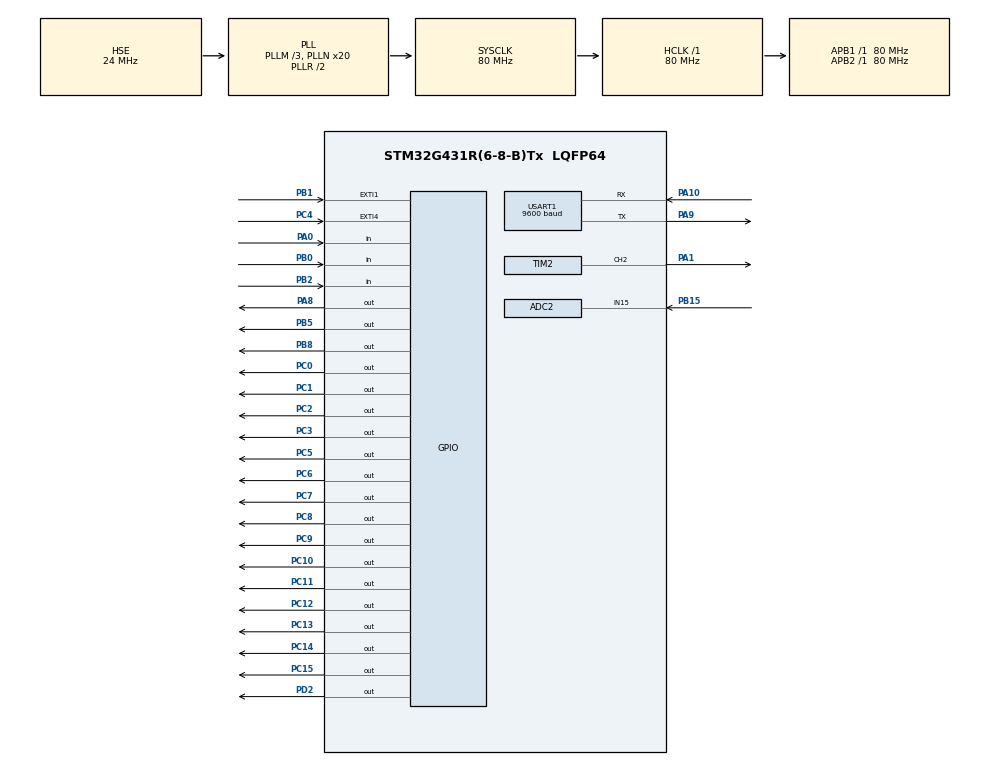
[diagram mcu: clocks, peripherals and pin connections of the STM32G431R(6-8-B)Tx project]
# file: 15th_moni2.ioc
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ADC2.Channel-0\#ChannelRegularConversion=ADC_CHANNEL_15
ADC2.NbrOfConversionFlag=1
ADC2.OffsetNumber-0\#ChannelRegularConversion=ADC_OFFSET_NONE
ADC2.Rank-0\#ChannelRegularConversion=1
ADC2.SamplingTime-0\#ChannelRegularConversion=ADC_SAMPLETIME_2CYCLES_5
Mcu.Family=STM32G4
Mcu.Name=STM32G431R(6-8-B)Tx
Mcu.Package=LQFP64
NVIC.PriorityGroup=NVIC_PRIORITYGROUP_4
NVIC.TIM4_IRQn=true\:0\:0\:false\:false\:true\:true\:true\:true
NVIC.USART1_IRQn=true\:0\:0\:false\:false\:true\:true\:true\:true
PA0.GPIO_PuPd=GPIO_PULLUP
PA0.Signal=GPIO_Input
PA1.Signal=S_TIM2_CH2
PA10.Mode=Asynchronous
PA10.Signal=USART1_RX
PA13.Mode=Serial_Wire
PA13.Signal=SYS_JTMS-SWDIO
PA14.Mode=Serial_Wire
PA14.Signal=SYS_JTCK-SWCLK
PA8.Signal=GPIO_Output
PA9.Mode=Asynchronous
PA9.Signal=USART1_TX
PB0.GPIO_PuPd=GPIO_PULLUP
PB0.Signal=GPIO_Input
PB1.GPIO_PuPd=GPIO_PULLUP
PB1.Signal=GPXTI1
PB15.Mode=IN15-Single-Ended
PB15.Signal=ADC2_IN15
PB2.GPIO_PuPd=GPIO_PULLUP
PB2.Signal=GPIO_Input
PB5.Signal=GPIO_Output
PB8-BOOT0.Signal=GPIO_Output
PC0.Signal=GPIO_Output
PC1.Signal=GPIO_Output
PC10.PinState=GPIO_PIN_SET
PC10.Signal=GPIO_Output
PC11.PinState=GPIO_PIN_SET
PC11.Signal=GPIO_Output
PC12.PinState=GPIO_PIN_SET
PC12.Signal=GPIO_Output
PC13.PinState=GPIO_PIN_SET
PC13.Signal=GPIO_Output
PC14-OSC32_IN.PinState=GPIO_PIN_SET
PC14-OSC32_IN.Signal=GPIO_Output
PC15-OSC32_OUT.PinState=GPIO_PIN_SET
PC15-OSC32_OUT.Signal=GPIO_Output
PC2.Signal=GPIO_Output
PC3.Signal=GPIO_Output
PC4.Signal=GPXTI4
PC5.Signal=GPIO_Output
PC6.Signal=GPIO_Output
PC7.Signal=GPIO_Output
PC8.PinState=GPIO_PIN_SET
PC8.Signal=GPIO_Output
PC9.PinState=GPIO_PIN_SET
PC9.Signal=GPIO_Output
PD2.Signal=GPIO_Output
PF0-OSC_IN.Mode=HSE-External-Oscillator
PF0-OSC_IN.Signal=RCC_OSC_IN
PF1-OSC_OUT.Mode=HSE-External-Oscillator
PF1-OSC_OUT.Signal=RCC_OSC_OUT
ProjectManager.HeapSize=0x200
ProjectManager.StackSize=0x400
ProjectManager.TargetToolchain=MDK-ARM V5.32
RCC.ADC12Freq_Value=80000000
RCC.AHBFreq_Value=80000000
RCC.APB1Freq_Value=80000000
RCC.APB1TimFreq_Value=80000000
RCC.APB2Freq_Value=80000000
RCC.APB2TimFreq_Value=80000000
RCC.CortexFreq_Value=80000000
RCC.EXTERNAL_CLOCK_VALUE=12288000
RCC.HCLKFreq_Value=80000000
RCC.HSE_VALUE=24000000
RCC.HSI48_VALUE=48000000
RCC.HSI_VALUE=16000000
RCC.LSE_VALUE=32768
RCC.PLLM=RCC_PLLM_DIV3
RCC.PLLN=20
RCC.PLLSourceVirtual=RCC_PLLSOURCE_HSE
RCC.SYSCLKFreq_VALUE=80000000
RCC.SYSCLKSource=RCC_SYSCLKSOURCE_PLLCLK
RCC.USBFreq_Value=80000000
RCC.VCOOutputFreq_Value=160000000
SH.S_TIM2_CH2.0=TIM2_CH2,PWM Generation2 CH2
TIM2.Channel-PWM\ Generation2\ CH2=TIM_CHANNEL_2
TIM2.PeriodNoDither=100-1
TIM2.Prescaler=400-1
TIM4.PeriodNoDither=10000-1
TIM4.Prescaler=80-1
USART1.BaudRate=9600
USART1.VirtualMode-Asynchronous=VM_ASYNC
VP_SYS_VS_DBSignals.Mode=DisableDeadBatterySignals
VP_TIM2_VS_ClockSourceINT.Mode=Internal
VP_TIM4_VS_ClockSourceINT.Mode=Internal
board=custom

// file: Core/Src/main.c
/* USER CODE BEGIN Header */
/**
  ******************************************************************************
  * @file           : main.c
  * @brief          : Main program body
  ******************************************************************************
  * @attention
  *
  * Copyright (c) 2024 STMicroelectronics.
  * All rights reserved.
  *
  * This software is licensed under terms that can be found in the LICENSE file
  * in the root directory of this software component.
  * If no LICENSE file comes with this software, it is provided AS-IS.
  *
  ******************************************************************************
  */
/* USER CODE END Header */
#include "main.h"
#include "adc.h"
#include "tim.h"
#include "usart.h"
#include "gpio.h"

/* USER CODE BEGIN Includes */

#include "stdio.h"
#include "string.h"
#include "lcd.h"
#include "led.h"
#include "timer.h"
#include "myadc.h"
#include "myusart.h"

/* USER CODE END Includes */

/* USER CODE BEGIN PTD */

__IO uint32_t uwTick_Lcd;
__IO uint32_t uwTick_Led;

unsigned char view=0;
unsigned char lcd_text[30];
unsigned char usart_text[30];

unsigned char ucled=0x00;

double temp;//温度
double R37_v;
unsigned char mode=0;//当前控制模式
unsigned char gear=1;//档位

unsigned char usart_flag=0;
unsigned char usart_led=0;

/* USER CODE END PTD */

void SystemClock_Config(void);
/* USER CODE BEGIN PFP */
void Lcd_proc(void);
void Key_proc(void);
void usart_proc(void);
void led_proc(void);
void pwm_proc(void);
void temp_proc(void);

/* USER CODE END PFP */

int main(void)
{

  /* MCU Configuration--------------------------------------------------------*/

  /* Reset of all peripherals, Initializes the Flash interface and the Systick. */
  HAL_Init();

  /* Configure the system clock */
  SystemClock_Config();

  /* Initialize all configured peripherals */
  MX_GPIO_Init();
  MX_ADC2_Init();
  MX_TIM2_Init();
  MX_TIM4_Init();
  MX_USART1_UART_Init();
  /* USER CODE BEGIN 2 */

    led_disp(ucled);

    LCD_Init();
    LCD_Clear(Black);
    LCD_SetBackColor(Black);
    LCD_SetTextColor(White);

    HAL_TIM_Base_Start_IT(&htim4);

    HAL_UART_Receive_IT(&huart1,&rxdat,1);

    HAL_TIM_PWM_Start(&htim2,TIM_CHANNEL_2);

  /* USER CODE END 2 */

  /* Infinite loop */
  while (1)
  {

    /* USER CODE BEGIN 3 */
      if(rx_pointer!=0)
      {
          int temp=rx_pointer;
          HAL_Delay(2);
          if(rx_pointer==temp)
              usart_proc();
      }

      Key_proc();
      temp_proc();
      Lcd_proc();
      led_proc();
      pwm_proc();
  }
  /* USER CODE END 3 */
}

void SystemClock_Config(void)
{
  RCC_OscInitTypeDef RCC_OscInitStruct = {0};
  RCC_ClkInitTypeDef RCC_ClkInitStruct = {0};

  /** Configure the main internal regulator output voltage
  */
  HAL_PWREx_ControlVoltageScaling(PWR_REGULATOR_VOLTAGE_SCALE1);

  /** Initializes the RCC Oscillators according to the specified parameters
  * in the RCC_OscInitTypeDef structure.
  */
  RCC_OscInitStruct.OscillatorType = RCC_OSCILLATORTYPE_HSE;
  RCC_OscInitStruct.HSEState = RCC_HSE_ON;
  RCC_OscInitStruct.PLL.PLLState = RCC_PLL_ON;
  RCC_OscInitStruct.PLL.PLLSource = RCC_PLLSOURCE_HSE;
  RCC_OscInitStruct.PLL.PLLM = RCC_PLLM_DIV3;
  RCC_OscInitStruct.PLL.PLLN = 20;
  RCC_OscInitStruct.PLL.PLLP = RCC_PLLP_DIV2;
  RCC_OscInitStruct.PLL.PLLQ = RCC_PLLQ_DIV2;
  RCC_OscInitStruct.PLL.PLLR = RCC_PLLR_DIV2;
  if (HAL_RCC_OscConfig(&RCC_OscInitStruct) != HAL_OK)
  {
    Error_Handler();
  }

  /** Initializes the CPU, AHB and APB buses clocks
  */
  RCC_ClkInitStruct.ClockType = RCC_CLOCKTYPE_HCLK|RCC_CLOCKTYPE_SYSCLK
                              |RCC_CLOCKTYPE_PCLK1|RCC_CLOCKTYPE_PCLK2;
  RCC_ClkInitStruct.SYSCLKSource = RCC_SYSCLKSOURCE_PLLCLK;
  RCC_ClkInitStruct.AHBCLKDivider = RCC_SYSCLK_DIV1;
  RCC_ClkInitStruct.APB1CLKDivider = RCC_HCLK_DIV1;
  RCC_ClkInitStruct.APB2CLKDivider = RCC_HCLK_DIV1;

  if (HAL_RCC_ClockConfig(&RCC_ClkInitStruct, FLASH_LATENCY_2) != HAL_OK)
  {
    Error_Handler();
  }
}

/* USER CODE BEGIN 4 */

void temp_proc(void)
{
    R37_v=Get_Adc(&hadc2);
    if(R37_v<=1)
        temp=20;
    else if(R37_v>=3)
        temp=40;
    else
    {
        temp=10*R37_v+10;
    }
    if(0==mode)//自动档
    {
        if(temp<25)
            gear=1;
        else if((temp>=25)&&(temp<=30))
            gear=2;
        else if(temp>30)
            gear=3;
    }
}

void Lcd_proc(void)
{
    if((uwTick-uwTick_Lcd)<100)return;
    uwTick_Lcd=uwTick;

    switch(view)
    {
        case 0://数据界面
            memset(lcd_text,0,sizeof(lcd_text));
            sprintf((char *)lcd_text,"        DATA          ");
            LCD_DisplayStringLine(Line1,lcd_text);

            memset(lcd_text,0,sizeof(lcd_text));
            sprintf((char *)lcd_text,"     TEMP:%0.1f        ",temp);
            LCD_DisplayStringLine(Line3,lcd_text);

            memset(lcd_text,0,sizeof(lcd_text));
            if(0==mode)//自动挡模式
            {
                sprintf((char *)lcd_text,"     MODE:Auto         ");
            }
            else if(1==mode)//手动档模式
            {
                sprintf((char *)lcd_text,"     MODE:Manu         ");

            }
            LCD_DisplayStringLine(Line4,lcd_text);

            memset(lcd_text,0,sizeof(lcd_text));
            sprintf((char *)lcd_text,"     GEAR:%d        ",gear);
            LCD_DisplayStringLine(Line5,lcd_text);

            break;
        case 1://睡眠界面
            memset(lcd_text,0,sizeof(lcd_text));
            sprintf((char *)lcd_text,"     SLEEPING          ");
            LCD_DisplayStringLine(Line4,lcd_text);

            memset(lcd_text,0,sizeof(lcd_text));
            sprintf((char *)lcd_text,"     TEMP:%0.1f          ",temp);
            LCD_DisplayStringLine(Line5,lcd_text);

            break;
    }
}

void Key_proc(void)
{

    if((1==key[0].single_flag)||(1==usart_flag))
    {
        if(1==key[0].single_flag)
            key[0].single_flag=0;
        if(1==usart_flag)
            usart_flag=0;

       uwTick_sleep=0;
        if(0==view){

            mode=!mode;
        }
        else if(1==view)//处于睡眠界面下时，唤醒数据界面
        {
            view=0;
            LCD_Clear(Black);
        }
    }
    else if((1==key[1].single_flag)||(2==usart_flag))
    {
        if(1==key[1].single_flag)
        key[1].single_flag=0;
        if(2==usart_flag)
            usart_flag=0;

        uwTick_sleep=0;
        if((1==mode)&&(0==view))//手动控制模式下,且不处于睡眠界面下
        {
            gear++;
            if(4==gear)
            {
                gear=1;
            }
        }
        else if(1==view)//处于睡眠界面下时，唤醒数据界面
        {
            view=0;
            LCD_Clear(Black);
        }
    }
    else if((1==key[2].single_flag)||(3==usart_flag))
    {
        if(1==key[2].single_flag)
        key[2].single_flag=0;
        if(3==usart_flag)
            usart_flag=0;

        uwTick_sleep=0;

        if((1==mode)&&(0==view))//手动控制模式下,且不处于睡眠界面下
        {
            gear--;

            if(0==gear)
            {
                gear=3;
            }
        }
        else if(1==view)//处于睡眠界面下时，唤醒数据界面
        {
            view=0;
            LCD_Clear(Black);
        }
    }
    else if(1==key[3].single_flag)
    {
        key[3].single_flag=0;
    }
    else
    {

        if(uwTick_sleep>=500)//5S无按键操作
        {
            if(0==view)
           LCD_Clear(Black);
            view=1;
        }
    }

}

void usart_proc(void)
{
    if(rx_pointer!=0)
    {
        if(strcmp((char *)rxdata,"B1")==0)//实现按键B1切换模式功能
        {
            usart_flag=1;
            usart_led=1;
        }
        else if(strcmp((char *)rxdata,"B2")==0)//实现B2档位加功能
        {
            usart_flag=2;
            usart_led=1;
        }
        else if(strcmp((char *)rxdata,"B3")==0)//实现B3档位减功能
        {
            usart_flag=3;
            usart_led=1;
        }
        else
        {
            memset(usart_text,0,sizeof(usart_text));
            sprintf((char *)usart_text,"NULL\r\n");
            HAL_UART_Transmit(&huart1,usart_text,6,50);
        }
        rx_pointer=0;
        memset(rxdata,0,sizeof(rxdata));
    }
}

void pwm_proc(void)
{
    //占空比=比较值/重装载值
    switch(gear)
    {
        case 1:
            //调整占空比:10%
            __HAL_TIM_SetCompare(&htim2,TIM_CHANNEL_2,10.0/100*(TIM2->ARR+1));
            break;
        case 2:
            //调整占空比:40%
            __HAL_TIM_SetCompare(&htim2,TIM_CHANNEL_2,40.0/100*(TIM2->ARR+1));
            break;
        case 3:
            //调整占空比:80%
            __HAL_TIM_SetCompare(&htim2,TIM_CHANNEL_2,80.0/100*(TIM2->ARR+1));
            break;
    }
//            memset(lcd_text,0,sizeof(lcd_text));
//            sprintf((char *)lcd_text,"     PWM:%0.1f          ",(TIM2->CCR1+1)*100.0/(TIM2->ARR+1));
//            LCD_DisplayStringLine(Line7,lcd_text);
}

void led_proc(void)
{
    if((uwTick-uwTick_Led)<50)return;
    uwTick_Led=uwTick;

    if(0==mode)
    {
        ucled|=0x80;
    }
    else
    {
        ucled&=0x7f;
    }

    switch(gear)
    {
        case 1://1档
            ucled|=0x01;
            ucled&=0xf9;
            break;
        case 2://2档
            ucled|=0x02;
            ucled&=0xfa;
            break;
        case 3://3档
            ucled|=0x04;
            ucled&=0xfc;
            break;
    }
    led_disp(ucled);
}

/* USER CODE END 4 */

void Error_Handler(void)
{
  __disable_irq();
  while (1)
  {
  }
}
